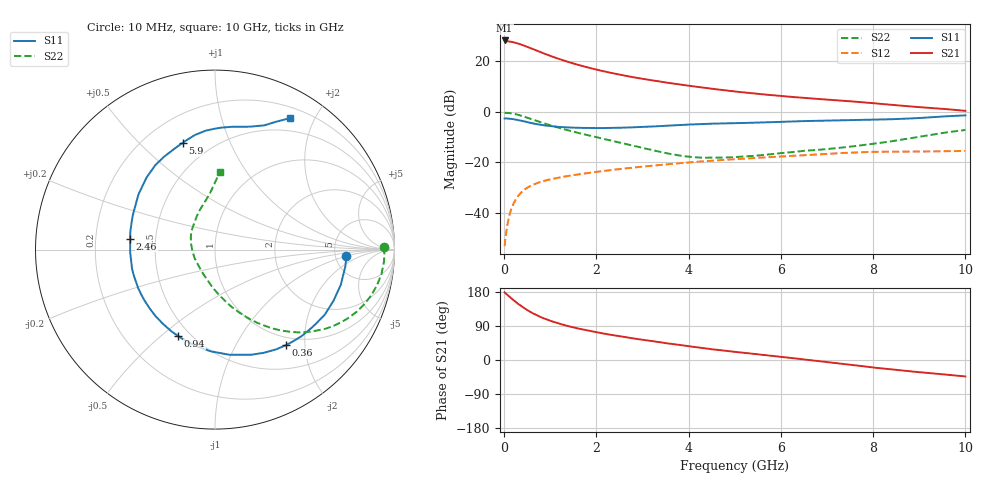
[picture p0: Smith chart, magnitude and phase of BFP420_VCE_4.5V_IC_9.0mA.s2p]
! Infineon Technologies  Discrete & RF Semiconductors
! BFP420
! VCE =  4.5 V,  IC =  9.0 mA
! Common Emitter S-Parameters:  Jan 2016
# GHz  S  MA  R  50
!  f  S11  S21  S12  S22
! GHz  MAG  ANG  MAG  ANG  MAG  ANG  MAG  ANG
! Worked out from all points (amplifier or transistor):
!   233 points, 10 MHz to 10 GHz, reference 50 ohm
!   highest |S21| = 28.1 dB at 10 MHz (marker M1)
!   |S21| within 3 dB of that: start of sweep to 568 MHz
!   unconditionally stable (mu >= 1): start of sweep to 19.25 MHz; 2.466 GHz to end of sweep
!   at 200 MHz: K = 0.27, MSG = 32.0 dB, |S12| = -36.5 dB
!   at 1.74 GHz: K = 0.80, MSG = 21.1 dB, |S12| = -24.5 dB
!   at 10 GHz: K = 1.09, MAG = 6.1 dB, |S12| = -15.6 dB
!   S11 on the Smith chart (normalised r, x): 10 MHz: 6.20, -0.97; 360 MHz: 0.87, -1.65; 940 MHz: 0.43, -0.57; 2.46 GHz: 0.36, +0.06; 5.9 GHz: 0.35, +0.68; 10 GHz: 0.33, +1.67
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0.01  0.7282 -2.9  25.32 178.7  0.0022 4.0  0.9401 0.8
0.02  0.7335 -2.9  24.62 177.2  0.0028 31.0  0.9441 -1.4
0.1  0.7278 -15.6  24.3 168.6  0.0079 66.0  0.9377 -8.2
0.2  0.7111 -30.6  23.36 158.2  0.0149 67.6  0.9077 -16.2
0.3  0.6819 -45.1  22.05 148.4  0.0214 64.1  0.8635 -23.5
0.36  0.6633 -53.2  21.15 143.1  0.0247 61.7  0.8327 -27.4
0.46  0.6324 -65.9  19.6 134.8  0.0296 57.8  0.7792 -33.3
0.6  0.5918 -82.1  17.47 124.6  0.0352 53.3  0.7052 -40.4
0.8  0.547 -101.5  14.75 112.9  0.0412 48.6  0.6116 -48.3
0.94  0.523 -113.2  13.19 106.2  0.0446 46.3  0.5567 -52.8
1.1  0.505 -125.1  11.66 99.5  0.048 44.4  0.5028 -57.2
1.28  0.4911 -136.6  10.26 93.0  0.0515 42.9  0.4516 -61.6
1.68  0.4758 -157.5  7.993 81.1  0.0587 40.5  0.3643 -70.2
2  0.4719 -170.7  6.727 73.3  0.0644 39.0  0.3118 -76.2
2.46  0.4769 172.6  5.455 63.5  0.0724 36.7  0.2495 -85.7
3.4  0.5179 146.7  3.874 46.5  0.0887 31.6  0.1587 -111.1
4  0.5536 133.6  3.232 36.2  0.0991 27.8  0.1284 -135.7
5.1  0.5929 117.3  2.434 20.3  0.1163 20.1  0.1273 -179.6
5.9  0.6214 106.9  2.067 9.6  0.128 14.6  0.1473 155.8
6.8  0.6574 96.6  1.775 -2.6  0.1426 7.6  0.1753 135.2
8.4  0.7052 76.0  1.357 -25.0  0.1612 -8.3  0.2589 104.8
10  0.841 60.4  1.032 -43.4  0.1669 -19.5  0.4331 86.4
